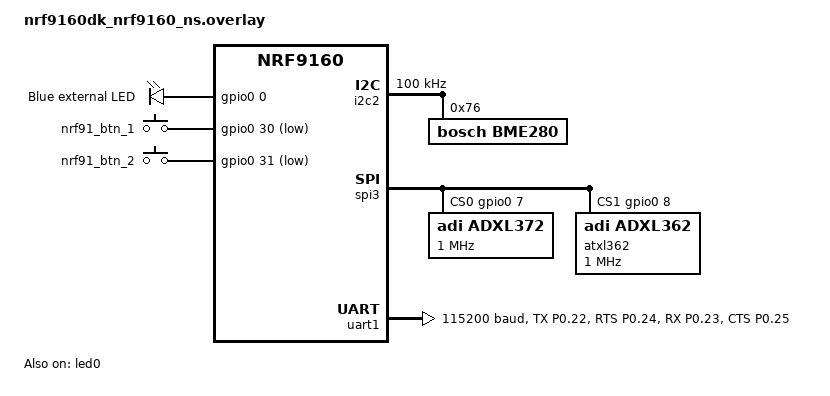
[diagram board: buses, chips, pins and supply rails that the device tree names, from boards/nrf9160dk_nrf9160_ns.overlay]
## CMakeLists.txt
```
# SPDX-License-Identifier: Apache-2.0

cmake_minimum_required(VERSION 3.20.0)

find_package(Zephyr REQUIRED HINTS $ENV{ZEPHYR_BASE})
project(main_unit)

target_sources(app PRIVATE
	src/main.c
	src/coap.c
	src/gnss.c
	src/led_button.c
	src/lte.c
	src/sensors.c
	)
```

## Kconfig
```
# This stems from Nordic Semiconductor's asset tracker sample, with some minor changes

#
# Copyright (c) 2019 Nordic Semiconductor ASA
#
# SPDX-License-Identifier: LicenseRef-Nordic-5-Clause
#

menu "Main Unit Configuration"

config DEVICE_VERSION
	string "Version number"
	default "1.0.0"

config COAP_DEVICE_NAME
	string "Device resource name - this will be the device name on the CoAP server. MUST include cali.-prefix"
	default "cali.UnspecifiedUnit"

config COAP_POST_RESOURCE
	string "Parent CoAP resource - this is the parent resource of your device resource name"
	default "echo"

config COAP_SERVER_HOSTNAME
	string "CoAP server hostname"
	default "californium.eclipseprojects.io"

config COAP_SERVER_PORT
	int "CoAP server port"
	default 5684
	
config COAP_SERVER_PSK
	string "Server PSK"
	default "2e666f726e69756d"

config TRACKER_PERIODIC_INTERVAL
	int "Fix interval for periodic GPS fixes. This determines your tracking frequency"
	range 10 65535
	default 120
	help
	  Fix interval (in seconds) for periodic fixes.

config TRACKER_PERIODIC_TIMEOUT
	int "Fix timeout for periodic GPS fixes"
	range 0 65535
	default 600
	help
	  Fix timeout (in seconds) for periodic fixes.
	  If set to zero, GNSS is allowed to run indefinitely until a valid PVT estimate is produced.

config GNSS_LOW_ACCURACY
	bool "Allow low accuracy fixes."
	help
	  Helps with faster fixes.GNSS demonstrates a looser acceptance criterion for a fix.

config GNSS_HIGH_ACCURACY_TIMING_SOURCE
	bool "Use Crystal oscillator"
	help
	  Use crystal oscillator (TCXO) timing source for the GNSS interface 
	  instead of the default Real time clock (RTC).TCXO has higher power consumption than RTC

endmenu

menu "Zephyr Kernel"
source "Kconfig.zephyr"
endmenu
```

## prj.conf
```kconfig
# Parts of this stems from Nordic Semiconductor's asset tracker sample

CONFIG_DEVICE_VERSION="1.0.0"

# Logging
CONFIG_LOG=y
CONFIG_LOG_PRINTK=y
# Set log level (0 = off, 1 = error, 2 = warning, 3 = info, 4 = debug2)
CONFIG_LOG_MAX_LEVEL=4

# Multithreading
CONFIG_TIMESLICING=y
CONFIG_TIMESLICE_SIZE=10
# Modem thread has priority 0, do not timeslice it
CONFIG_TIMESLICE_PRIORITY=5

# Button and LED support
CONFIG_DK_LIBRARY=y

# Sensors
CONFIG_SENSOR=y

# Newlib
CONFIG_NEWLIB_LIBC=y
CONFIG_FPU=y
CONFIG_NEWLIB_LIBC_FLOAT_PRINTF=y

# Networking
CONFIG_NETWORKING=y
CONFIG_NET_NATIVE=n
CONFIG_NET_SOCKETS_OFFLOAD=y
CONFIG_NET_SOCKETS=y
CONFIG_NET_SOCKETS_POSIX_NAMES=y

# Memory
CONFIG_MAIN_STACK_SIZE=8192
CONFIG_HEAP_MEM_POOL_SIZE=8192

# Modem library
CONFIG_NRF_MODEM_LIB=y
CONFIG_MODEM_KEY_MGMT=y

# LTE link control
CONFIG_LTE_LINK_CONTROL=y
CONFIG_LTE_AUTO_INIT_AND_CONNECT=n
CONFIG_LTE_NETWORK_MODE_LTE_M_GPS=y

# AT commands interface
CONFIG_AT_HOST_LIBRARY=n
CONFIG_UART_INTERRUPT_DRIVEN=y

# CoAP
CONFIG_COAP=y
CONFIG_COAP_DEVICE_NAME="cali.MainUnit1"

# GNSS/GPS
CONFIG_TRACKER_PERIODIC_INTERVAL=60
CONFIG_GNSS_LOW_ACCURACY=n
```

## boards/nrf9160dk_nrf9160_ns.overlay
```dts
&pinctrl {
	i2c2_default: i2c2_default {
		group1 {
			psels = <NRF_PSEL(TWIM_SDA, 0, 11)>,
					<NRF_PSEL(TWIM_SCL, 0, 12)>;
		};
	};

	i2c2_sleep: i2c2_sleep {
		group1 {
			psels = <NRF_PSEL(TWIM_SDA, 0, 11)>,
					<NRF_PSEL(TWIM_SCL, 0, 12)>;
			low-power-enable;
		};
	};

	spi3_default: spi3_default {
		group1 {
			psels = <NRF_PSEL(SPIM_SCK, 0, 3)>,
					<NRF_PSEL(SPIM_MOSI, 0, 4)>,
					<NRF_PSEL(SPIM_MISO, 0, 5)>;
		};
	};

	spi3_sleep: spi3_sleep {
		group1 {
			psels = <NRF_PSEL(SPIM_SCK, 0, 3)>,
					<NRF_PSEL(SPIM_MOSI, 0, 4)>,
					<NRF_PSEL(SPIM_MISO, 0, 5)>;
			low-power-enable;
		};
	};
	
	uart1_default: uart1_default {
		group1 {
			psels = <NRF_PSEL(UART_TX, 0, 22)>,
				<NRF_PSEL(UART_RTS, 0, 24)>;
		};
		group2 {
			psels = <NRF_PSEL(UART_RX, 0, 23)>,
				<NRF_PSEL(UART_CTS, 0, 25)>;
			bias-pull-up;
		};
	};
	
	uart1_sleep: uart1_sleep {
		group1 {
			psels = <NRF_PSEL(UART_TX, 0, 22)>,
				<NRF_PSEL(UART_RX, 0, 23)>,
				<NRF_PSEL(UART_RTS, 0, 24)>,
				<NRF_PSEL(UART_CTS, 0, 25)>;
			low-power-enable;
		};
	};
	
};

&i2c2 {
	compatible = "nordic,nrf-twim";
	status = "okay";
	clock-frequency = <I2C_BITRATE_STANDARD>;
	
	bme280: bme280@76 {
		compatible = "bosch,bme280";
		reg = <0x76 >;
	};
};

&spi3 {
	status = "okay";
	cs-gpios = <&gpio0 7 0>, <&gpio0 8 0>;
	adxl372: adxl372@0 {
		compatible = "adi,adxl372";
		reg = <0>;
		spi-max-frequency = <1000000>;
	};
	atxl362: adxl362@1 {
		compatible = "adi,adxl362";
		reg = <1>;
		spi-max-frequency = <1000000>;
	};
};

&pwm0 {
	status = "disabled";
};


// The below nodes are taken up by SPI/I2C.
&led0 {
	status = "okay";
};

&led1 {
	status = "disabled";
};

&led2 {
	status = "disabled";
};

&led3 {
	status = "disabled";
};


/ {
	custom_leds {
		compatible = "gpio-leds";
		// There's also led0 available (green on-board LED 1)
		
		blueled: blue_led {
			status = "okay";
			gpios = <&gpio0 0 0>;
			label = "Blue external LED";
		};
	};

	buttons {
		compatible = "gpio-keys";
		
		nrf91_btn_1: nrf91_btn_1 {
			gpios = <&gpio0 30 (GPIO_ACTIVE_LOW | GPIO_PULL_UP)>;
		};

		nrf91_btn_2: nrf91_btn_2 {
			gpios = <&gpio0 31 (GPIO_ACTIVE_LOW | GPIO_PULL_UP)>;
		};
	};
};

&uart1 {
	status = "okay";
	current-speed = <115200>;
	pinctrl-0 = <&uart1_default>;
	pinctrl-1 = <&uart1_sleep>;
	pinctrl-names = "default", "sleep";
};
```

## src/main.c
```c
#include <zephyr/kernel.h>
#include <zephyr/device.h>
#include <zephyr/devicetree.h>
#include <modem/modem_key_mgmt.h>
#include <zephyr/logging/log.h>
#include <zephyr/sys/printk.h>

#include "custom_errno.h"
#include "gnss.h"
#include "lte.h"
#include "coap.h"
#include "sensors.h"
#include "led_button.h"

LOG_MODULE_REGISTER(main_c_, LOG_LEVEL_DBG);

#define SENSOR_THREAD_PRIORITY 9
#define GPS_THREAD_PRIORITY 7
#define UPLOAD_THREAD_PRIORITY 8
#define STACKSIZE 2048

#define APP_COAP_MAX_MSG_LEN 1280
#define APP_COAP_SEND_MAX_MSG_LEN 128

static uint8_t coap_buf[APP_COAP_MAX_MSG_LEN];
static uint8_t coap_databuf[APP_COAP_SEND_MAX_MSG_LEN];
struct nrf_modem_gnss_pvt_data_frame current_pvt;
struct nrf_modem_gnss_pvt_data_frame last_pvt;
static int resolve_address_lock = 0;
static int sock;
bool shutdown_flag = false;					   // Flag to signal a fault that should shut down the system
volatile bool faux_gnss_fix_requested = false; // Generate fake GPS data for testing purposes
volatile bool mob_event = false;			   // Flag to signal a Man Overboard (MOB) event
sensors_s sensors;							   // Holds all the sensors and their data

// Semaphores included from other files:
// K_SEM_DEFINE(lte_connected, 0, 1) from lte.c
// K_SEM_DEFINE(gnss_fix_sem, 0, 1) from gnss.c

K_THREAD_STACK_DEFINE(sensor_thread_stack, STACKSIZE);
K_THREAD_STACK_DEFINE(gps_thread_stack, STACKSIZE);
K_THREAD_STACK_DEFINE(upload_thread_stack, STACKSIZE);

struct k_thread sensor_thread_data;
struct k_thread gnss_thread_data;
struct k_thread upload_thread_data;

K_SEM_DEFINE(sem_lte_busy, 1, 1);

/**
 * @brief Update and print the sensor data every 10 seconds
 *
 */
void sensor_thread(void *arg1, void *arg2, void *arg3)
{
	int err;
	// Initialize the sensors
	err = sensors_init(&sensors);
	/*
	if (err != 0)
	{

		return;
	}
	*/

	// Sensor data read and print loop
	while (1)
	{
		if (shutdown_flag)
		{
			// Do any necessary cleanup here before exiting
			break;
		}
		read_sensors(&sensors);
		LOG_DBG("BME280: Temperature: %d.%06d C, Pressure: %d.%06d hPa, Humidity: %d.%06d %%RH\n",
				sensors.bme280.temperature.val1, sensors.bme280.temperature.val2, sensors.bme280.pressure.val1, sensors.bme280.pressure.val2,
				sensors.bme280.humidity.val1, sensors.bme280.humidity.val2);

		if (sensors.bme280.humidity.val1 > 60 && mob_event == false)
		{
			LOG_WRN("MOB ALERT!");
			mob_event = true;
			setOnboardLed(true);
			k_sem_give(&sem_send_new_data);
		}

		k_sleep(K_SECONDS(3));
	}
}

void gnss_thread(void *arg1, void *arg2, void *arg3)
{
	while (1)
	{
		if (shutdown_flag)
		{
			// Do any necessary cleanup here before exiting
			break;
		}
		// GNSS is event driven and will give a semaphore when a fix is found.
		// This happens in the gnss_event_handler() function in gnss.c.
		if (faux_gnss_fix_requested)
		{
			setOnboardLed(true);
			createFauxFix(&current_pvt);
			print_fix_data(&current_pvt);
			k_sem_give(&sem_send_new_data);	 // Signals that there's updated data to send
			faux_gnss_fix_requested = false; // Reset the flag
		}
		k_sleep(K_SECONDS(1));
	}
}

void upload_thread(void *arg1, void *arg2, void *arg3)
{
	int err, received;

	while (1)
	{
		if (shutdown_flag)
		{
			lte_lc_power_off();
			LOG_ERR("Shutting down upload thread...");
			break;
		}

		if ((k_sem_take(&sem_send_new_data, K_FOREVER) == 0) && (k_sem_take(&sem_lte_busy, K_FOREVER) == 0)) // Wait for data to send
		{
			LOG_INF("Sending data over LTE\n\r");
			err = lte_lc_func_mode_set(LTE_LC_FUNC_MODE_NORMAL);
			if (err != 0)
			{
				LOG_ERR("Failed to activate LTE");
				break;
			}
			LOG_INF("Waiting for LTE connection\n\r");
			k_sem_take(&lte_connected, K_FOREVER); // Wait for the LTE connection to be established
			LOG_INF("LTE connected\n\r");
			
			// Send the data to the server
			if (resolve_address_lock == 0)
			{
				LOG_INF("Resolving the server address\n\r");
				if (server_resolve() != 0)
				{
					LOG_ERR("Failed to resolve server name\n");
					return;
				}
				resolve_address_lock = 1;
			}
			LOG_INF("Sending Data over LTE\r\n");
			if (server_connect(sock) != 0)
			{
				LOG_ERR("Failed to initialize CoAP client\n");
				return;
			}

			if (client_post_send(sock, coap_buf, sizeof(coap_buf), coap_databuf, sizeof(coap_databuf),
								 current_pvt, mob_event) != 0)
			{
				LOG_ERR("Failed to send GET request, exit...\n");
				break;
			}
			received = recv(sock, coap_buf, sizeof(coap_buf), 0);

			if (received < 0)
			{
				LOG_ERR("Error reading response\n");
				break;
			}

			if (received == 0)
			{
				LOG_ERR("Disconnected\n");
				break;
			}

			// Read it back
			err = client_handle_get_response(coap_buf, received);
			if (err < 0)
			{
				LOG_ERR("Invalid response, exit...\n");
				break;
			}

			(void)close(sock);
			err = lte_lc_func_mode_set(LTE_LC_FUNC_MODE_DEACTIVATE_LTE);
			if (err != 0)
			{
				LOG_ERR("Failed to decativate LTE and enable GNSS functional mode");
				break;
			}

			k_sem_give(&sem_lte_busy); // Release the LTE semaphore
			setOnboardLed(false);
		}

		else
		{
			k_sleep(K_MSEC(200));
		}
	}
}

void main(void)
{
	LOG_INF("Main Unit Version %s started\n", CONFIG_DEVICE_VERSION);

	int err;
	err = led_button_init();
	if (err)
	{
		LOG_ERR("Failed to initialize LEDs and buttons: %d\n", err);
		return;
	}
	setOnboardLed(false);

	LOG_INF("Initializing LTE for upload....");

	err = modem_key_mgmt_write(SEC_TAG, MODEM_KEY_MGMT_CRED_TYPE_IDENTITY, CONFIG_COAP_DEVICE_NAME, strlen(CONFIG_COAP_DEVICE_NAME));
	if (err)
	{
		LOG_ERR("Failed to write identity: %d\n", err);
		return;
	}

	err = modem_key_mgmt_write(SEC_TAG, MODEM_KEY_MGMT_CRED_TYPE_PSK, CONFIG_COAP_SERVER_PSK, strlen(CONFIG_COAP_SERVER_PSK));
	if (err)
	{
		LOG_ERR("Failed to write identity: %d\n", err);
		return;
	}
	modem_configure();

	LOG_INF("Starting GNSS....");
	err = gnss_init_and_start();
	if (!err)
	{
		LOG_INF("GNSS started successfully\n");
	}
	k_sem_give(&sem_lte_busy); // Release the LTE semaphore

	k_thread_create(&sensor_thread_data, sensor_thread_stack,
					STACKSIZE, sensor_thread, NULL, NULL, NULL,
					SENSOR_THREAD_PRIORITY, 0, K_NO_WAIT);

	k_thread_create(&upload_thread_data, upload_thread_stack,
					STACKSIZE, upload_thread, NULL, NULL, NULL,
					UPLOAD_THREAD_PRIORITY, 0, K_NO_WAIT);

	k_thread_create(&gnss_thread_data, gps_thread_stack,
					STACKSIZE, gnss_thread, NULL, NULL, NULL,
					GPS_THREAD_PRIORITY, 0, K_NO_WAIT);
}
```

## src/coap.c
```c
#include "coap.h"
#include <stdint.h>
#include <stdio.h>
#include <nrf_modem_gnss.h>
#include <zephyr/net/coap.h>
#include <zephyr/net/socket.h>
#include <zephyr/random/rand32.h>
#include <zephyr/net/tls_credentials.h>

LOG_MODULE_REGISTER(CoAP, LOG_LEVEL_DBG);

/* VARIABLES */
static uint16_t next_token;
static struct sockaddr_storage server;

/* FUNCTION DEFINITIONS */

/**@brief Resolves the configured hostname. */
int server_resolve(void)
{
	int err;
	struct addrinfo *result;
	struct addrinfo hints = {
		.ai_family = AF_INET,
		.ai_socktype = SOCK_DGRAM};
	char ipv4_addr[NET_IPV4_ADDR_LEN];

	err = getaddrinfo(CONFIG_COAP_SERVER_HOSTNAME, NULL, &hints, &result);
	if (err != 0)
	{
		LOG_ERR("ERROR: getaddrinfo failed %d\n", err);
		return -EIO;
	}

	if (result == NULL)
	{
		LOG_ERR("ERROR: Address not found\n");
		return -ENOENT;
	}

	/* IPv4 Address. */
	struct sockaddr_in *server4 = ((struct sockaddr_in *)&server);

	server4->sin_addr.s_addr =
		((struct sockaddr_in *)result->ai_addr)->sin_addr.s_addr;
	server4->sin_family = AF_INET;
	server4->sin_port = htons(CONFIG_COAP_SERVER_PORT);

	inet_ntop(AF_INET, &server4->sin_addr.s_addr, ipv4_addr,
			  sizeof(ipv4_addr));
	LOG_INF("IPv4 Address found %s\n", ipv4_addr);

	/* Free the address. */
	freeaddrinfo(result);

	return 0;
}

/**@brief Initialize the CoAP client */
int server_connect(int sock)
{
	int err;

	sock = socket(AF_INET, SOCK_DGRAM, IPPROTO_DTLS_1_2);
	if (sock < 0)
	{
		LOG_ERR("Failed to create CoAP socket: %d.\n", errno);
		return -errno;
	}

	int verify;
	sec_tag_t sec_tag_list[] = {12};

	enum
	{
		NONE = 0,
		OPTIONAL = 1,
		REQUIRED = 2,
	};

	verify = REQUIRED;

	err = setsockopt(sock, SOL_TLS, TLS_PEER_VERIFY, &verify, sizeof(verify));
	if (err)
	{
		LOG_ERR("Failed to setup peer verification, errno %d\n", errno);
		return -errno;
	}

	err = setsockopt(sock, SOL_TLS, TLS_HOSTNAME, CONFIG_COAP_SERVER_HOSTNAME,
					 strlen(CONFIG_COAP_SERVER_HOSTNAME));
	if (err)
	{
		LOG_ERR("Failed to setup TLS hostname (%s), errno %d\n",
				CONFIG_COAP_SERVER_HOSTNAME, errno);
		return -errno;
	}

	err = setsockopt(sock, SOL_TLS, TLS_SEC_TAG_LIST, sec_tag_list,
					 sizeof(sec_tag_t) * ARRAY_SIZE(sec_tag_list));
	if (err)
	{
		LOG_ERR("Failed to setup socket security tag, errno %d\n", errno);
		return -errno;
	}
	
	int cache = TLS_SESSION_CACHE_ENABLED;
	err = setsockopt(sock, SOL_TLS, TLS_SESSION_CACHE, &cache,
					 sizeof(cache));
	if (err)
	{
		LOG_ERR("Failed to setup TLS session cache, errno %d\n", errno);
		return -errno;
	}

	err = connect(sock, (struct sockaddr *)&server,
				  sizeof(struct sockaddr_in));
	if (err < 0)
	{
		LOG_ERR("Connect failed : %d\n", errno);
		return -errno;
	}

	/* Randomize token. */
	next_token = sys_rand32_get();

	return 0;
}

/**@brief Handles responses from the remote CoAP server. */
int client_handle_get_response(uint8_t *buf, int received)
{
	int err;
	struct coap_packet reply;
	const uint8_t *payload;
	uint16_t payload_len;
	uint8_t token[8];
	uint16_t token_len;
	static uint8_t temp_buf[128];

	err = coap_packet_parse(&reply, buf, received, NULL, 0);
	if (err < 0)
	{
		LOG_ERR("Malformed response received: %d\n", err);
		return err;
	}

	payload = coap_packet_get_payload(&reply, &payload_len);
	token_len = coap_header_get_token(&reply, token);

	if ((token_len != sizeof(next_token)) ||
		(memcmp(&next_token, token, sizeof(next_token)) != 0))
	{
		LOG_ERR("Invalid token received: 0x%02x%02x\n",
				token[1], token[0]);
		return 0;
	}

	if (payload_len > 0)
	{
		snprintf(temp_buf, MIN(payload_len + 1, sizeof(temp_buf)), "%s", payload);
	}
	else
	{
		strcpy(temp_buf, "EMPTY");
	}

	LOG_INF("CoAP response: Code 0x%x, Token 0x%02x%02x, Payload: %s",
			coap_header_get_code(&reply), token[1], token[0], temp_buf);
	return 0;
}

int client_post_send(int sock, uint8_t *buf, size_t buf_size, uint8_t *sendbuf, size_t sendbuf_size,
					 struct nrf_modem_gnss_pvt_data_frame current_pvt, bool mob_value)
{
	int err, ret;
	struct coap_packet request;

	next_token++;

	err = coap_packet_init(&request, buf, buf_size,
						   APP_COAP_VERSION, COAP_TYPE_CON,
						   sizeof(next_token), (uint8_t *)&next_token,
						   COAP_METHOD_POST, coap_next_id());
	if (err < 0)
	{
		LOG_ERR("Failed to create CoAP request, %d\n", err);
		return err;
	}

	err = coap_packet_append_option(&request, COAP_OPTION_URI_PATH,
									(uint8_t *)CONFIG_COAP_POST_RESOURCE,
									strlen(CONFIG_COAP_POST_RESOURCE));
	if (err < 0)
	{
		LOG_ERR("Failed to encode CoAP option, %d\n", err);
		return err;
	}

	err = coap_append_option_int(&request, COAP_OPTION_CONTENT_FORMAT,
								 COAP_CONTENT_FORMAT_TEXT_PLAIN);
	if (err < 0)
	{
		LOG_ERR("Failed to encode CoAP CONTENT_FORMAT option, %d", err);
		return err;
	}

	err = coap_packet_append_option(&request, COAP_OPTION_URI_QUERY,
									(uint8_t *)"keep",
									strlen("keep"));
	if (err < 0)
	{
		LOG_ERR("Failed to encode CoAP URI-QUERY option 'keep', %d", err);
		return err;
	}

	err = coap_packet_append_payload_marker(&request);
	if (err < 0)
	{
		LOG_ERR("Failed to append payload marker, %d\n", err);
		return err;
	}

	ret = snprintf(sendbuf, sendbuf_size, "%.06f,%.06f\n%.01f m\n%04u-%02u-%02u %02u:%02u:%02u\n%d",
				   current_pvt.latitude, current_pvt.longitude, current_pvt.accuracy, current_pvt.datetime.year, current_pvt.datetime.month, current_pvt.datetime.day,
				   current_pvt.datetime.hour, current_pvt.datetime.minute, current_pvt.datetime.seconds, mob_value);
	if (err < 0)
	{
		LOG_ERR("snprintf failed to format string, %d\n", err);
		return err;
	}
	err = coap_packet_append_payload(&request, (uint8_t *)sendbuf, ret);
	if (err < 0)
	{
		LOG_ERR("Failed to append payload, %d\n", err);
		return err;
	}

	err = send(sock, request.data, request.offset, 0);
	if (err < 0)
	{
		LOG_ERR("Failed to send CoAP request, %d\n", errno);
		return -errno;
	}

	LOG_INF("CoAP request sent: token 0x%04x\n", next_token);

	return 0;
}
```

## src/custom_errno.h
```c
/**
 * @file
 * @brief Error codes custom to the MOB system
 */

#ifndef custom_errno_H
#define custom_errno_H

#include <errno.h>

#define ENODEVINIT 150		/**< No sensor devices initialized */
#define ESOMEDEVINIT 151	/**< Some sensor devices initialized */
#define ENODEVREAD 152		/**< No sensor devices read */
#define ESOMEDEVREAD 153	/**< Some sensor devices read */
#define EIONOTREADY 154		/**< Some button or LED not ready */

#endif  // custom_errno_H
```

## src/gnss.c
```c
#include "gnss.h"
#include "led_button.h"
#include <stdio.h>
#include <zephyr/logging/log.h>
#include <nrf_modem_gnss.h>
#include <zephyr/random/rand32.h>

LOG_MODULE_REGISTER(GNSS, LOG_LEVEL_DBG);

/* SEMAPHORES */
K_SEM_DEFINE(sem_send_new_data, 0, 1);

/* VARIABLES */

/* FUNCTION DEFINITIONS */
void print_fix_data(struct nrf_modem_gnss_pvt_data_frame *pvt_data)
{
	printk("Latitude:       %.06f\n", pvt_data->latitude);
	printk("Longitude:      %.06f\n", pvt_data->longitude);
	printk("Altitude:       %.01f m\n", pvt_data->altitude);
	printk("Time (UTC):     %02u:%02u:%02u.%03u\n",
		   pvt_data->datetime.hour,
		   pvt_data->datetime.minute,
		   pvt_data->datetime.seconds,
		   pvt_data->datetime.ms);
}

static void gnss_event_handler(int event)
{
	int retval;
	switch (event)
	{
	case NRF_MODEM_GNSS_EVT_PVT:
		LOG_DBG("Searching for GNSS Satellites....\n\r");
		break;
	case NRF_MODEM_GNSS_EVT_FIX:
		LOG_INF("GNSS fix event\n\r");
		break;
	case NRF_MODEM_GNSS_EVT_PERIODIC_WAKEUP:
		LOG_INF("GNSS woke up in periodic mode\n\r");
		break;
	case NRF_MODEM_GNSS_EVT_BLOCKED:
		LOG_INF("GNSS is blocked by LTE event\n\r");
		break;
	case NRF_MODEM_GNSS_EVT_SLEEP_AFTER_FIX:
		LOG_INF("GNSS enters sleep because fix was achieved in periodic mode\n\r");
		retval = nrf_modem_gnss_read(&last_pvt, sizeof(last_pvt), NRF_MODEM_GNSS_DATA_PVT);
		if (retval == 0)
		{
			setOnboardLed(true);
			current_pvt = last_pvt;
			print_fix_data(&current_pvt);
			k_sem_give(&sem_send_new_data);
		}
		break;
	case NRF_MODEM_GNSS_EVT_SLEEP_AFTER_TIMEOUT:
		LOG_DBG("GNSS enters sleep because fix retry timeout was reached\n\r");
		break;

	default:

		break;
	}
}

int gnss_init_and_start(void)
{
#if defined(CONFIG_GNSS_HIGH_ACCURACY_TIMING_SOURCE)
	if (nrf_modem_gnss_timing_source_set(NRF_MODEM_GNSS_TIMING_SOURCE_TCXO))
	{
		LOG_ERR("Failed to set TCXO timing source");
		return -1;
	}
#endif
#if defined(CONFIG_GNSS_LOW_ACCURACY) || defined(CONFIG_BOARD_THINGY91_NRF9160_NS)
	uint8_t use_case;
	use_case = NRF_MODEM_GNSS_USE_CASE_MULTIPLE_HOT_START | NRF_MODEM_GNSS_USE_CASE_LOW_ACCURACY;
	if (nrf_modem_gnss_use_case_set(use_case) != 0)
	{
		LOG_ERR("Failed to set low accuracy use case");
		return -1;
	}
#endif
	/* Configure GNSS event handler . */
	if (nrf_modem_gnss_event_handler_set(gnss_event_handler) != 0)
	{
		LOG_ERR("Failed to set GNSS event handler");
		return -1;
	}

	if (nrf_modem_gnss_fix_interval_set(CONFIG_TRACKER_PERIODIC_INTERVAL) != 0)
	{
		LOG_ERR("Failed to set GNSS fix interval");
		return -1;
	}

	if (nrf_modem_gnss_fix_retry_set(CONFIG_TRACKER_PERIODIC_TIMEOUT) != 0)
	{
		LOG_ERR("Failed to set GNSS fix retry");
		return -1;
	}

	if (nrf_modem_gnss_start() != 0)
	{
		LOG_ERR("Failed to start GNSS");
		return -1;
	}
	if (nrf_modem_gnss_prio_mode_disable() != 0) // DISABLED GNSS PRIORITY MODE
	{
		LOG_ERR("Error setting GNSS priority mode");
		return -1;
	}
	return 0;
}

double generate_random_double(double min, double max)
{
	uint32_t randNum = sys_rand32_get();
	double fraction = ((double)randNum) / UINT32_MAX; // Normalize to [0, 1]
	return min + fraction * (max - min);			  // Scale to [min, max]
}

void createFauxFix(struct nrf_modem_gnss_pvt_data_frame *pvt_data)
{
	LOG_INF("Faux GNSS fix requested");

	pvt_data->latitude = generate_random_double(-90, 90);
	pvt_data->longitude = generate_random_double(-180, 180);
	pvt_data->altitude = generate_random_double(0, 1000);
	pvt_data->accuracy = generate_random_double(0, 100);
	pvt_data->datetime.day = sys_rand32_get() % 31;
	pvt_data->datetime.month = sys_rand32_get() % 12;
	pvt_data->datetime.year = 2023;
	pvt_data->datetime.hour = sys_rand32_get() % 24;
	pvt_data->datetime.minute = sys_rand32_get() % 60;
	pvt_data->datetime.seconds = sys_rand32_get() % 60;
	pvt_data->datetime.ms = sys_rand32_get() % 1000;
}
```

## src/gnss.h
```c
// gnss.h
#ifndef GNSS_H
#define GNSS_H

/* INCLUDES */
#include <zephyr/kernel.h>
#include <nrf_modem_gnss.h>

/* DEFINES */

/* SEMAPHORES */
extern struct k_sem sem_send_new_data;

/* VARIABLES */
extern struct nrf_modem_gnss_pvt_data_frame current_pvt;
extern struct nrf_modem_gnss_pvt_data_frame last_pvt;

/* FUNCTION PROTOTYPES */
void print_fix_data(struct nrf_modem_gnss_pvt_data_frame *pvt_data);
int gnss_init_and_start(void);
void createFauxFix(struct nrf_modem_gnss_pvt_data_frame *pvt_data);

#endif // GNSS_H
```

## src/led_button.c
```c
#include "led_button.h"
#include "custom_errno.h"
#include <zephyr/kernel.h>
#include <zephyr/drivers/gpio.h>
#include <zephyr/device.h>
#include <zephyr/devicetree.h>
#include <zephyr/sys/printk.h>
#include <zephyr/logging/log.h>

LOG_MODULE_REGISTER(led_button, LOG_LEVEL_DBG);

#define ONBOARD_LED_NODE DT_NODELABEL(led0)
#define BLUE_LED_NODE DT_NODELABEL(blueled)
#define BUTTON1_NODE DT_NODELABEL(nrf91_btn_1)
#define BUTTON2_NODE DT_NODELABEL(nrf91_btn_2)

static const struct gpio_dt_spec onboard_led = GPIO_DT_SPEC_GET(ONBOARD_LED_NODE, gpios);
static const struct gpio_dt_spec blue_led = GPIO_DT_SPEC_GET(BLUE_LED_NODE, gpios);
static const struct gpio_dt_spec button1 = GPIO_DT_SPEC_GET(BUTTON1_NODE, gpios);
static const struct gpio_dt_spec button2 = GPIO_DT_SPEC_GET(BUTTON2_NODE, gpios);

/* Interrupt callback functions */
// Button 1 callback
void button1_pressed(const struct device *dev, struct gpio_callback *cb, uint32_t pins)
{	
    LOG_DBG("Button 1 pressed\n");
	faux_gnss_fix_requested = true;
}

// Button 2 callback
void button2_pressed(const struct device *dev, struct gpio_callback *cb, uint32_t pins)
{	
    LOG_DBG("Button 2 pressed\n");
    gpio_pin_toggle_dt(&blue_led);
    mob_event = false;
}

static struct gpio_callback button1_cb_data;
static struct gpio_callback button2_cb_data;

int led_button_init(void)
{
	int ret;
	LOG_INF("Initializing LEDs and buttons\n");
	if (!device_is_ready(onboard_led.port))
	{
		LOG_ERR("LED0 device not ready\n");
		return -EIONOTREADY;
	}
	if (!device_is_ready(blue_led.port))
	{
		LOG_ERR("BLUE_LED device not ready\n");
		return -EIONOTREADY;
	}
	if (!device_is_ready(button1.port))
	{
		LOG_ERR("BUTTON1 device not ready\n");
		return -EIONOTREADY;
	}
	if (!device_is_ready(button2.port))
	{
		LOG_ERR("BUTTON2 device not ready\n");
		return -EIONOTREADY;
	}
	ret = gpio_pin_configure_dt(&onboard_led, GPIO_OUTPUT_ACTIVE);
	if (ret < 0)
	{
		LOG_ERR("Error %d: failed to configure LED0\n", ret);
		return ret;
	}
	ret = gpio_pin_configure_dt(&blue_led, GPIO_OUTPUT_ACTIVE);
	if (ret < 0)
	{
		LOG_ERR("Error %d: failed to configure BLUE_LED\n", ret);
		return ret;
	}
	ret = gpio_pin_configure_dt(&button1, GPIO_INPUT | GPIO_PULL_UP );
	if (ret < 0)
	{
		LOG_ERR("Error %d: failed to configure BUTTON1\n", ret);
		return ret;
	}
	ret = gpio_pin_configure_dt(&button2, GPIO_INPUT | GPIO_PULL_UP);
	if (ret < 0)
	{
		LOG_ERR("Error %d: failed to configure BUTTON2\n", ret);
		return ret;
	}
	
	// Set up the button callbacks
	ret = gpio_pin_interrupt_configure_dt(&button1, GPIO_INT_EDGE_TO_ACTIVE);
	if (ret < 0)
	{
		LOG_ERR("Error %d: failed to configure BUTTON1 interrupt\n", ret);
		return ret;
	}
	
	ret = gpio_pin_interrupt_configure_dt(&button2, GPIO_INT_EDGE_TO_ACTIVE);
	if (ret < 0)
	{
		LOG_ERR("Error %d: failed to configure BUTTON2 interrupt\n", ret);
		return ret;
	}
	gpio_init_callback(&button1_cb_data, button1_pressed, BIT(button1.pin));
    gpio_add_callback(button1.port, &button1_cb_data);
	
    gpio_init_callback(&button2_cb_data, button2_pressed, BIT(button2.pin));
    gpio_add_callback(button2.port, &button2_cb_data);
	
	return 0;
}

// A more descriptive name for the function
static bool readPin(const struct gpio_dt_spec *button_spec)
{
	return gpio_pin_get_dt(button_spec);
}

bool readButton0(void)
{
	return readPin(&button1);
}

bool readButton1(void)
{
	return readPin(&button2);
}

void setOnboardLed(bool state)
{
	gpio_pin_set_dt(&onboard_led, (int)state);
}

void setBlueLed(bool state)
{
	gpio_pin_set_dt(&blue_led, (int)state);
}
```

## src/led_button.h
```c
#ifndef led_button_H
#define led_button_H

#include <zephyr/kernel.h>

/* Function declarations */
int led_button_init(void);
bool readButton0(void);
bool readButton1(void);
void setOnboardLed(bool state);
void setBlueLed(bool state);

extern volatile bool faux_gnss_fix_requested;
extern volatile bool mob_event;

#endif  // led_button_H
```

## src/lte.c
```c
#include "lte.h"
#include <zephyr/kernel.h>
#include <modem/lte_lc.h>
#include <stdio.h>
#include <zephyr/logging/log.h>
LOG_MODULE_REGISTER(LTE, LOG_LEVEL_INF);

/* SEMAPHORES */
K_SEM_DEFINE(lte_connected, 0, 1);

/* FUNCTION DEFINITIONS */
static void lte_handler(const struct lte_lc_evt *const evt)
{
	switch (evt->type)
	{
	case LTE_LC_EVT_NW_REG_STATUS:
		if ((evt->nw_reg_status != LTE_LC_NW_REG_REGISTERED_HOME) &&
			(evt->nw_reg_status != LTE_LC_NW_REG_REGISTERED_ROAMING))
		{
			break;
		}

		LOG_INF("Network registration status: %s\n",
				evt->nw_reg_status == LTE_LC_NW_REG_REGISTERED_HOME ? "Connected - home network" : "Connected - roaming\n");
		k_sem_give(&lte_connected);
		break;
	case LTE_LC_EVT_PSM_UPDATE:
		LOG_INF("PSM parameter update: TAU: %d, Active time: %d\n",
				evt->psm_cfg.tau, evt->psm_cfg.active_time);
		break;
	case LTE_LC_EVT_EDRX_UPDATE:
	{
		char log_buf[60];
		ssize_t len;

		len = snprintf(log_buf, sizeof(log_buf),
					   "eDRX parameter update: eDRX: %f, PTW: %f\n",
					   evt->edrx_cfg.edrx, evt->edrx_cfg.ptw);
		if (len > 0)
		{
			LOG_INF("%s\n", log_buf);
		}
		break;
	}
	case LTE_LC_EVT_RRC_UPDATE:
		LOG_INF("RRC mode: %s\n",
				evt->rrc_mode == LTE_LC_RRC_MODE_CONNECTED ? "Connected" : "Idle\n");
		break;
	case LTE_LC_EVT_CELL_UPDATE:
		LOG_INF("LTE cell changed: Cell ID: %d, Tracking area: %d\n",
				evt->cell.id, evt->cell.tac);
		break;
	default:
		break;
	}
}

void modem_configure(void)
{
	int err;

	err = lte_lc_init_and_connect_async(lte_handler);
	if (err)
	{
		LOG_ERR("Modem could not be configured, error: %d", err);
		return;
	}
	/* Decativate LTE and enable GNSS. */
	if (lte_lc_func_mode_set(LTE_LC_FUNC_MODE_DEACTIVATE_LTE) != 0)
	{
		LOG_ERR("Failed to decativate LTE and enable GNSS functional mode");
		return;
	}
}
```

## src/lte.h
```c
#ifndef LTE_H
#define LTE_H

/* INCLUDES */
#include <zephyr/kernel.h>
#include <modem/lte_lc.h>

/* DEFINES */
#define SEC_TAG 12

/* SEMAPHORES */
extern struct k_sem lte_connected;

/* VARIABLES */

/* FUNCTION PROTOTYPES */
void modem_configure(void);

#endif // LTE_H
```

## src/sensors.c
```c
/*
 * Copyright (c) 2012-2014 Wind River Systems, Inc.
 * Copyright (c) 2021 Nordic Semiconductor ASA
 *
 * SPDX-License-Identifier: Apache-2.0
 */

#include "sensors.h"
#include "custom_errno.h"
#include <zephyr/kernel.h>
#include <zephyr/device.h>
#include <zephyr/devicetree.h>
#include <zephyr/drivers/sensor.h>
#include <zephyr/logging/log.h>

LOG_MODULE_REGISTER(sensors, LOG_LEVEL_DBG);

/**
 * @brief Initialize the sensors
 *
 * @param[in,out] sensors Where to store the sensor data
 *
 * @retval 0 All sensors initialized successfully.
 * @retval -EINVAL Invalid sensors structure pointer.
 * @retval -ENODEVINIT No sensors were initialized.
 * @retval -ESOMEDEVINIT Some sensors were initialized.
 */
int sensors_init(sensors_s *sensors) {
    uint8_t init_count = 0;
    
	if (sensors == NULL) {
        LOG_ERR("Invalid sensors structure pointer.\n");
		return -EINVAL;
	}
	
    if ((sensors->bme280.dev = DEVICE_DT_GET_ANY(bosch_bme280)) != NULL) {
        if (device_is_ready(sensors->bme280.dev)) {
			LOG_DBG("BME280 device initialized.\n");
			init_count++;
        } else {
			LOG_DBG("BME280 device not ready.\n");
		}
    } else {
		LOG_DBG("No BME280 device found.\n");
	}

    if ((sensors->adxl362.dev = DEVICE_DT_GET_ANY(analog_devices_adxl362)) != NULL) {
        if (device_is_ready(sensors->adxl362.dev)) {
			LOG_DBG("ADXL362 device initialized.\n");
			init_count++;
        } else {
			LOG_DBG("ADXL362 device not ready.\n");
		}
    } else {
		LOG_DBG("No ADXL362 device found.\n");
	}

    if ((sensors->adxl372.dev = DEVICE_DT_GET_ANY(analog_devices_adxl372)) != NULL) {
        if (device_is_ready(sensors->adxl372.dev)) {
			LOG_DBG("ADXL372 device initialized.\n");
			init_count++;
        } else {
            LOG_DBG("ADXL372 device not ready.\n");
        }
    } else {
		LOG_DBG("No ADXL372 device found.\n");
	}

    if (init_count == 0) {
        LOG_ERR("No sensors were initialized.\n");
        return -ENODEVINIT;
    } else if (init_count < 3) {
        LOG_WRN("Some sensors failed to initialize.\n");
        return -ESOMEDEVINIT;
    }

    LOG_INF("All sensors initialized successfully.\n");
    return 0;
}


/**
 * @brief Read the BME280 sensor data.
 *
 * @param[in,out] sensor The BME280 sensor data.
 *
 * @retval 0 Sensor data read successfully.
 * @retval -EINVAL Invalid sensor device pointer.
 * @retval -EIO Failed to read sensor data.
 */
static int readBME280(bme280_data *sensor) {
    if (sensor == NULL) {
        return -EINVAL;
    }

    if (sensor_sample_fetch(sensor->dev) < 0 ||
        sensor_channel_get(sensor->dev, SENSOR_CHAN_AMBIENT_TEMP, &sensor->temperature) < 0 ||
        sensor_channel_get(sensor->dev, SENSOR_CHAN_PRESS, &sensor->pressure) < 0 ||
        sensor_channel_get(sensor->dev, SENSOR_CHAN_HUMIDITY, &sensor->humidity) < 0) {
        return -EIO;
    }

    return 0;
}

/**
 * @brief Read the ADXL362 sensor data.
 *
 * @param[in,out] sensor The ADXL362 sensor data.
 *
 * @retval 0 Sensor data read successfully.
 * @retval -EINVAL Invalid sensor device pointer.
 * @retval -EIO Failed to read sensor data.
 */
static int readADXL362(adxl362_data *sensor) {
	if (sensor->dev == NULL) {
		return -EINVAL;
	}

	if (sensor_sample_fetch(sensor->dev) < 0 ||
		sensor_channel_get(sensor->dev, SENSOR_CHAN_ACCEL_X, &sensor->accel_x) < 0 ||
		sensor_channel_get(sensor->dev, SENSOR_CHAN_ACCEL_Y, &sensor->accel_y) < 0 ||
		sensor_channel_get(sensor->dev, SENSOR_CHAN_ACCEL_Z, &sensor->accel_z) < 0 ||
		sensor_channel_get(sensor->dev, SENSOR_CHAN_ACCEL_XYZ, &sensor->accel_xyz) < 0 ||
		sensor_channel_get(sensor->dev, SENSOR_CHAN_DIE_TEMP, &sensor->die_temp) < 0) {
		return -EIO;
	}

	return 0;
}

/**
 * @brief Read the ADXL372 sensor data.
 *
 * @param[in,out] sensor The ADXL372 sensor data.
 *
 * @retval 0 Sensor data read successfully.
 * @retval -EINVAL Invalid sensor device pointer.
 * @retval -EIO Failed to read sensor data.
 */
static int readADXL372(adxl372_data *sensor) {
	if (sensor->dev == NULL) {
		return -EINVAL;
	}

	if (sensor_sample_fetch(sensor->dev) ||
		sensor_channel_get(sensor->dev, SENSOR_CHAN_ACCEL_X, &sensor->accel_x) ||
		sensor_channel_get(sensor->dev, SENSOR_CHAN_ACCEL_Y, &sensor->accel_y) ||
		sensor_channel_get(sensor->dev, SENSOR_CHAN_ACCEL_Z, &sensor->accel_z) ||
		sensor_channel_get(sensor->dev, SENSOR_CHAN_ACCEL_XYZ, &sensor->accel_xyz)) {
		return -EIO;
	}

	return 0;
}

/**
 * @brief Read sensor data from all available sensors.
 *
 * @param[in,out] sensors The sensors data structure.
 *
 * @retval 0 if all sensor data read successfully.
 * @retval -EINVAL Invalid sensors structure pointer.
 * @retval -ENODEVREAD No sensors read successfully.
 * @retval -ESOMEDEVREAD Some sensors read successfully.
 */
int read_sensors(sensors_s *sensors) {
	if (sensors == NULL) {
		return -EINVAL;
	}
	
	uint8_t read_count = 0;
	
	if (readBME280(&sensors->bme280)) {
		LOG_DBG("Failed to read BME280 sensor data.\n");
	} else {
		read_count++;
	}
	if (readADXL362(&sensors->adxl362)) {
		LOG_DBG("Failed to read ADXL362 sensor data.\n");
	} else {
		read_count++;
	}
	if (readADXL372(&sensors->adxl372)) {
		LOG_DBG("Failed to read ADXL372 sensor data.\n");
	} else {
		read_count++;
	}
	
	if (read_count == 0) {
		return -ENODEVREAD;
	} else if (read_count < 3) {
		return -ESOMEDEVREAD;
	}
	
	return 0;
}
```
